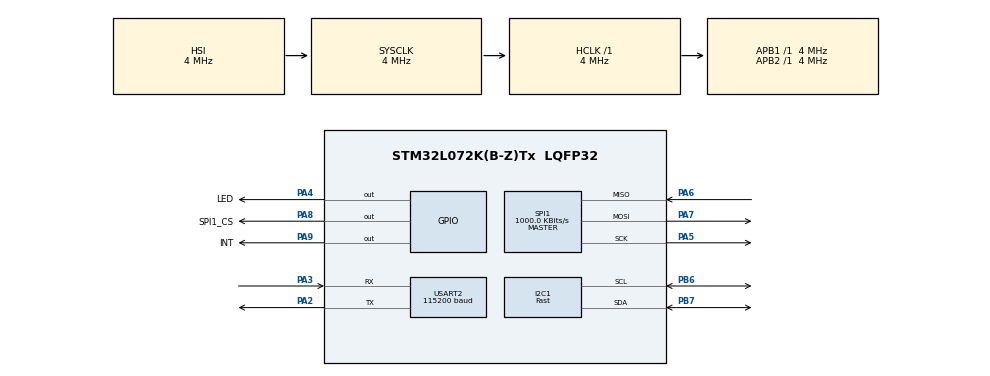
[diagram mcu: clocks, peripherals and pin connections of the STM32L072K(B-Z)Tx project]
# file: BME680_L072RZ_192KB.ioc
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I2C1.I2C_Coeff_DF=6
I2C1.I2C_Fall_Time=100
I2C1.I2C_Rise_Time=100
I2C1.I2C_Speed_Mode=I2C_Fast
I2C1.NoStretchMode=I2C_NOSTRETCH_DISABLE
I2C1.OwnAddress=0x63
I2C1.Speed=140
I2C1.Timing=0x00000207
Mcu.Family=STM32L0
Mcu.Name=STM32L072K(B-Z)Tx
Mcu.Package=LQFP32
NVIC.I2C1_IRQn=true\:0\:0\:false\:false\:true\:true\:true
PA13.Mode=Serial_Wire
PA13.Signal=SYS_SWDIO
PA14.Mode=Serial_Wire
PA14.Signal=SYS_SWCLK
PA2.GPIO_PuPd=GPIO_PULLUP
PA2.Mode=Asynchronous
PA2.Signal=USART2_TX
PA3.GPIO_PuPd=GPIO_PULLUP
PA3.Mode=Asynchronous
PA3.Signal=USART2_RX
PA4.GPIO_Label=LED
PA4.GPIO_ModeDefaultOutputPP=GPIO_MODE_OUTPUT_OD
PA4.GPIO_Speed=GPIO_SPEED_FREQ_MEDIUM
PA4.PinState=GPIO_PIN_SET
PA4.Signal=GPIO_Output
PA5.Mode=Full_Duplex_Master
PA5.Signal=SPI1_SCK
PA6.Mode=Full_Duplex_Master
PA6.Signal=SPI1_MISO
PA7.Mode=Full_Duplex_Master
PA7.Signal=SPI1_MOSI
PA8.GPIO_Label=SPI1_CS
PA8.PinState=GPIO_PIN_SET
PA8.Signal=GPIO_Output
PA9.GPIO_Label=INT
PA9.PinState=GPIO_PIN_SET
PA9.Signal=GPIO_Output
PB6.GPIO_FM6=__NULL
PB6.GPIO_PuPdOD=GPIO_PULLUP
PB6.GPIO_Speed=GPIO_SPEED_FREQ_HIGH
PB6.Mode=I2C
PB6.Signal=I2C1_SCL
PB7.GPIO_FM7=__NULL
PB7.GPIO_PuPdOD=GPIO_PULLUP
PB7.GPIO_Speed=GPIO_SPEED_FREQ_HIGH
PB7.Mode=I2C
PB7.Signal=I2C1_SDA
ProjectManager.HeapSize=0x200
ProjectManager.StackSize=0x400
ProjectManager.TargetToolchain=SW4STM32
RCC.ADCFreq_Value=4000000
RCC.AHBFreq_Value=4000000
RCC.APB1Freq_Value=4000000
RCC.APB1TimFreq_Value=4000000
RCC.APB2Freq_Value=4000000
RCC.APB2TimFreq_Value=4000000
RCC.HCLKFreq_Value=4000000
RCC.HSI16_VALUE=16000000
RCC.HSI48_VALUE=48000000
RCC.HSIRCDiv=4
RCC.HSI_VALUE=4000000
RCC.I2c1ClockSelection=RCC_I2C1CLKSOURCE_HSI
RCC.LSE_VALUE=0.032768
RCC.MSIClockRange=RCC_MSIRANGE_6
RCC.MSI_VALUE=4194000
RCC.PLLDIV=RCC_PLLDIV_3
RCC.PWR_Regulator_Voltage_Scale=PWR_REGULATOR_VOLTAGE_SCALE3
RCC.SYSCLKFreq_VALUE=4000000
RCC.SYSCLKSource=RCC_SYSCLKSOURCE_HSI
RCC.Usart2ClockSelection=RCC_USART2CLKSOURCE_HSI
RCC.VCOOutputFreq_Value=12000000
SPI1.BaudRatePrescaler=SPI_BAUDRATEPRESCALER_4
SPI1.CalculateBaudRate=1000.0 KBits/s
SPI1.Direction=SPI_DIRECTION_2LINES
SPI1.Mode=SPI_MODE_MASTER
SPI1.VirtualType=VM_MASTER
USART2.BaudRate=115200
USART2.VirtualMode-Asynchronous=VM_ASYNC
VP_SYS_V_PVD_IN.Mode=Mode_PVD_Int
board=custom

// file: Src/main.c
/* USER CODE BEGIN Header */
/**
  ******************************************************************************
  * @file           : main.c
  * @brief          : Main program body
  ******************************************************************************
  * @attention
  *
  * <h2><center>&copy; Copyright (c) 2021 STMicroelectronics.
  * All rights reserved.</center></h2>
  *
  * This software component is licensed by ST under BSD 3-Clause license,
  * the "License"; You may not use this file except in compliance with the
  * License. You may obtain a copy of the License at:
  *                        opensource.org/licenses/BSD-3-Clause
  *
  ******************************************************************************
  */
/* USER CODE END Header */

#include "main.h"
#include "i2c.h"
#include "spi.h"
#include "usart.h"
#include "gpio.h"

/* USER CODE BEGIN Includes */

#include "stdio.h"
#include "stdlib.h"
#include "global.h"
#include "bsec_integration.h"
#include "bsec_datatypes.h"
#include "bsec_serialized_configurations_iaq.h"
#include "debugPrint.h"
// include sensor
#ifdef SENSOR_TYPE
    #if (SENSOR_TYPE == BUTTONS)
        #include "Sensors/buttons.h"
    #elif (SENSOR_TYPE == SOUND_LEVEL)
        #include "Sensors/sound_level.h"
    #elif (SENSOR_TYPE == BME680)
        #include "bme680_air_quality.h"
    #else
        #warning "Make sure your build settings in global.h are correct."
        #error "Unsupported sensor type."
    #endif
#else
    #warning "Make sure your build settings in global.h are correct."
    #error "Sensor type is undefined."
#endif

/* USER CODE END Includes */

/* USER CODE BEGIN PV */

Device_API_t sensorAPI = SENSOR_API;

#ifndef TYPE_BYTE
    #error "TYPE_BYTE is not defined"
#elif (~(~TYPE_BYTE + 0) == 0 && ~(~TYPE_BYTE + 1) == 1)
    #error "TYPE_BYTE is defined, but has no value"
#endif

#ifndef M_NR
    #error "M_NR is not defined"
#elif (~(~M_NR + 0) == 0 && ~(~M_NR + 1) == 1)
    #error "M_NR is defined, but has no value"
#endif

#ifndef SLAVE_ADDRESS
    #error "SLAVE_ADDRESS is not defined"
#elif (~(~SLAVE_ADDRESS + 0) == 0 && ~(~SLAVE_ADDRESS + 1) == 1)
    #error "SLAVE_ADDRESS is defined, but has no value"
#endif

uint8_t mData[2 * M_NR];
uint8_t mDataLength;
uint8_t Ready;
uint8_t MasterReset = 0;

uint8_t measurementData[D_LEN] = {0x00, 0x00, 0x00, 0x00, 0x00, 0x00, 0x00, 0x00};
uint8_t measurementDataForI2C[D_LEN] = {0x00, 0x00, 0x00, 0x00, 0x00, 0x00, 0x00, 0x00};
uint16_t temp16 = 0x0000;
uint16_t pres16 = 0x0000;
uint16_t humi16 = 0x0000;
uint16_t iaq16  = 0x0000;
uint8_t iaqacc = 0x00;
uint8_t intGenerated = 0;
uint8_t generateIntReq = 0; // if CMD_START_MEASUREMENT: generateIntReq = 1. The interrupt will be given AFTER a measurement (ULP or ULP PLUS) has been done.
uint8_t firstCmdStartMeasurement = 0; // to know when master requests for a measurement the first time
uint8_t mMeasurementReq = 0;
uint8_t mDataReq = 0;
uint8_t mDataSend = 0;
uint8_t mSetThresholds = 0;
uint8_t SetThresholds = 0;
uint8_t startBME680 = 0;
uint8_t DelayULPPStart = 0;

int64_t currentTime;
int64_t previousTime1;
int64_t previousTime2;

uint32_t n_samples = 0;
int32_t save_intvl = 100;

int64_t timeOfCmdStartMeasurement;
int64_t realTimeOfCmdStartMeasurement;
int64_t timeOfCmdIntToggleByMaster;
int64_t timeOfSetThresholds;

int64_t timeOfMeasurementDataPrint;
int64_t timeEllapsedSinceLastMeasurement;
int64_t timeULPStart;
int64_t timeDelayULPPStart;
int64_t timeDiffULPStart;
int64_t timeOfMasterIntToggle;
int64_t timeOfMDataReq;

int64_t PrevioustimeOfCmdStartMeasurement;
//int64_t timeOfIntReq;
int64_t timeOfIntExecution;
uint8_t alignIntReqWithBsec = 0;
uint8_t intExecute = 0;

int64_t timeOfCmdGetMData;
int64_t timeOfCmdPoll;
int64_t cycleEndTime;
int64_t cycletimeBSEC;
int64_t startTimeOfSaveBsecStatus;
int64_t endTimeOfSaveBsecStatus;
int64_t slaveCycleTime = 300000;

int64_t bsecCycle = 3000000; // this is the cycle of bsec, not bme680! Expressed in microseconds, set to 3s.
int64_t firstCycle = 60000000; // this is when the first cycle of bsec needs to start AFTER POLL command from master, set to 1s.

// DATA EEPROM Flash address
uint32_t Address = 0;
uint8_t saveBsec = 0;
uint8_t saveBsecState = 0;
uint8_t syncSaveBsecState = 0;
uint16_t saveBsecStateAanpassing = 0;

uint8_t processLed = 10;
uint8_t startFirstMeasurement = 0;
uint8_t cmdStartMeasurement = 0;
uint8_t cmdPoll = 0;
uint8_t cmdDeviceType = 0;
uint8_t cmdGetMNr = 0;
uint8_t cmdIntToggleByMaster = 0;
uint8_t cmdGetMData = 0;
uint MasterCycleCounter = 0;

uint8_t intExecuteInNextWakeUp = 0;
int64_t timeOfIntExecutionInNextWakeUp = 0;
uint8_t generateIntReqInNextWakeUp = 0;
uint8_t alignIntReqWithBsecInNextWakeUp = 0;

/**
  * @brief Variables related to Slave process
  */
const char* aSlaveInfo[]      = {
                  "STM32L152RE",
                  "1.2.3"};

uint8_t       aSlaveReceiveBuffer[0xF]  = {0};
uint8_t*      pSlaveTransmitBuffer      = 0;
__IO uint8_t  ubSlaveNbDataToTransmit   = 0;
uint8_t       ubSlaveInfoIndex          = 0xFF;
__IO uint8_t  ubSlaveReceiveIndex       = 0;
uint32_t      uwTransferDirection       = 0;
__IO uint32_t uwTransferInitiated       = 0;
__IO uint32_t uwTransferEnded           = 0;
uint8_t       mySlaveTransmitBuffer     = 0xAA;
uint8_t       slaveTransferOngoing      = 0;

/* USER CODE END PV */

void SystemClock_Config(void);

int main(void)
{
  /* USER CODE BEGIN 1 */
	//	char uart_buf[50];
	//	int uart_buf_len;
  /* USER CODE END 1 */

  /* MCU Configuration--------------------------------------------------------*/

  /* Reset of all peripherals, Initializes the Flash interface and the Systick. */
  HAL_Init();

  /* Configure the system clock */
  SystemClock_Config();

  /* Initialize all configured peripherals */
  MX_GPIO_Init();
  MX_I2C1_Init();
  MX_SPI1_Init();
  MX_USART2_UART_Init();
  /* USER CODE BEGIN 2 */

  //HAL_Delay(100);
  //setup_bsec_bme680_interface();
  //HAL_Delay(100);

  //  int64_t previousTime1;
  //  previousTime1 = get_timestamp_us();

   // previousTime2 = get_timestamp_us();
  //  int64_t currentTime;

    /* Start of bsec_iot_loop function before while (1) replacement */
    /* Timestamp variables */
    uint64_t time_stamp = 0;
    uint64_t time_stamp_interval_ms = 0;

    /* Allocate enough memory for up to BSEC_MAX_PHYSICAL_SENSOR physical inputs*/
    bsec_input_t bsec_inputs[BSEC_MAX_PHYSICAL_SENSOR];

    /* Number of inputs to BSEC */
    uint8_t num_bsec_inputs = 0;

    /* BSEC sensor settings struct */
    bsec_bme_settings_t sensor_settings;

    /* Save state variables */
    uint8_t bsec_state[BSEC_MAX_STATE_BLOB_SIZE];
    uint8_t work_buffer[BSEC_MAX_STATE_BLOB_SIZE];
    uint32_t bsec_state_len = 0;

    extern bsec_data bsec_value;

    bsec_value.timestamp = 0;
    bsec_value.iaq = 0.0f;
    bsec_value.iaq_accuracy = 0;
    bsec_value.temp = 0.0f;
    bsec_value.raw_temp = 0.0f;
    bsec_value.raw_pressure = 0.0f;
    bsec_value.humidity = 0.0f;
    bsec_value.raw_humidity = 0.0f;
    bsec_value.raw_gas = 0.0f;
    bsec_value.static_iaq = 0.0f;
    bsec_value.static_iaq_accuracy = 0;
    bsec_value.co2_equivalent = 0.0f;
    uint8_t co2_accuracy = 0;
    bsec_value.breath_voc_equivalent = 0.0f;
    uint8_t breath_voc_accuracy = 0;
    bsec_value.comp_gas_value = 0.0f;
    uint8_t comp_gas_accuracy = 0;
    bsec_value.gas_percentage = 0.0f;
    bsec_value.gas_percentage_acccuracy = 0;

    bsec_library_return_t bsec_status = BSEC_OK;
    /* End of bsec_iot_loop function before while (1) replacement */

    char uart_buf[200];
    int uart_buf_len;

    // I2C buffer for commands reception

    // Interrupt line to master HIGH
    HAL_GPIO_WritePin(INT_GPIO_Port, INT_Pin, GPIO_PIN_SET);
    Ready = 0; // INT_Pin high

    uint64_t time_next_measurement = 0;

  /* USER CODE END 2 */

  /* Infinite loop */
  /* USER CODE BEGIN WHILE */
  while (1)
  {
	/*##-2- Put I2C peripheral in Listen address match code process ##########*/
	/* This action will allow I2C periphal to able to treat Master request when
	 * necessary depending of transfer direction requested by Master */
	if ((currentTime - previousTime2) >= TICK) // do this every ms
	{
		if(HAL_I2C_EnableListen_IT(&hi2c1) != HAL_OK)
		{
		  /* Transfer error in reception process */
		  //Error_Handler();
		  //uart_buf_len = sprintf(uart_buf, "HAL_I2C_EnableListen_IT(&hi2c1) error (in while loop).\r\n");
		  //HAL_UART_Transmit(&huart2, (uint8_t *)uart_buf, uart_buf_len, 100);
		}
		previousTime2 = currentTime;
	}

//	if ((currentTime - previousTime1) >= TICK) // do this every ms
//	{
//    ...
//	  previousTime1 = currentTime;
//	}
    currentTime = get_timestamp_us();

//	if (MasterReset) // reset at master occurred
//	{
//	  if (generateIntReq && (currentTime >= timeOfIntReq))
	  if (generateIntReq && (currentTime >=  (timeOfCmdStartMeasurement + 2500000)))
	  {
		generateIntReq = 0;
		alignIntReqWithBsec = 1;
	  }

	  if(generateIntReqInNextWakeUp && (currentTime >= (timeOfCmdStartMeasurement + 17000000)))
	  {
		generateIntReqInNextWakeUp = 0;
		alignIntReqWithBsecInNextWakeUp = 1;
	  }

	  if (intExecuteInNextWakeUp && (currentTime >= timeOfIntExecutionInNextWakeUp) && MasterCycleCounter > 1)
	  {
		intExecuteInNextWakeUp = 0;
	    if ((get_timestamp_us() - timeOfCmdStartMeasurement) < 21000000)
	    {
		  sensorAPI.Measure();
	    }
	    else
	    {
		  uart_buf_len = sprintf(uart_buf, "Also no INT generated in the second wake-up event to avoid possible RESET. Time elapsed since last measurement request = %dms. MasterCycleCounter = %d.\r\n",(int)((get_timestamp_us() - timeOfCmdStartMeasurement)/1000),(int)MasterCycleCounter);
		  HAL_UART_Transmit(&huart2, (uint8_t *)uart_buf, uart_buf_len, 100);
	    }
	  }

	  if (intExecute && (currentTime >= timeOfIntExecution) && MasterCycleCounter > 1)
      {
	    intExecute = 0;
	    // if time elapsed is > 8s since measurement request, then there is a risk that the radio will work during the next wake-up
	    // resulting in a watchdog reset of the master with a reset as a consequence.
	    // To avoid a possible reset, it is better NOT to give the INT if this occurs.
	    // It is also important to take this into account if a threshold is exceeded. See bme680_air_quality.c, where the INT request can also be set.
	    if ((get_timestamp_us() - timeOfCmdStartMeasurement) < 5500000)
	    {
		  sensorAPI.Measure();
	    }
	    else
	    {
		  uart_buf_len = sprintf(uart_buf, "No INT generated in this wake-up event to avoid possible RESET. Time elapsed since last measurement request = %dms. MasterCycleCounter = %d.\r\n",(int)((get_timestamp_us() - timeOfCmdStartMeasurement)/1000),(int)MasterCycleCounter);
		  HAL_UART_Transmit(&huart2, (uint8_t *)uart_buf, uart_buf_len, 100);
		  generateIntReqInNextWakeUp = 1;
		  //intExecuteInNextWakeUp = 1;
		  //timeOfIntExecuteInNextWakeUp = timeOfCmdStartMeasurement + 17000000;
		}
	  }

	  if ((((currentTime - previousTime1) >= bsecCycle) && (firstCmdStartMeasurement == 2))  || (firstCmdStartMeasurement == 1)) // do this every 3s
//	  if ((currentTime - previousTime1) >= bsecCycle) // do this every 3s
	  {
		if (firstCmdStartMeasurement == 1)
		{
		  firstCmdStartMeasurement = 2;
		  generateIntReq = 1;
		  //timeOfIntReq = get_timestamp_us();
		}
		if ((MasterCycleCounter++ >= 100) || (MasterCycleCounter == 1))
		{
		  uart_buf_len = sprintf(uart_buf, "Start measurement in ULP mode. Current time = %ds. Time elapsed since last ULP measurement = %dms. MasterCycleCounter = %d.\r\n",(int)(currentTime/1000000),(int)((currentTime-timeULPStart)/1000),(int)MasterCycleCounter);
	      HAL_UART_Transmit(&huart2, (uint8_t *)uart_buf, uart_buf_len, 100);
	      timeULPStart = get_timestamp_us();
	      MasterCycleCounter = 1;
		}
		/* get the timestamp in nanoseconds before calling bsec_sensor_control() */
		time_stamp = currentTime * 1000;
	    /* Retrieve sensor settings to be used in this time instant by calling bsec_sensor_control */
		bsec_status = bsec_sensor_control(time_stamp, &sensor_settings);
	    if (bsec_status != BSEC_OK)
	    {
	      uart_buf_len = sprintf(uart_buf, "bsec_sensor_control issue, bsec_status = %d. Time since last bsec control request = %dms\r\n",(int)bsec_status,(int)((currentTime - previousTime1)/1000));
	      HAL_UART_Transmit(&huart2, (uint8_t *)uart_buf, uart_buf_len, 100);
	    }
	    /* Trigger a measurement if necessary */
	    bme680_bsec_trigger_measurement(&sensor_settings, sleep);
	    /* Read data from last measurement */
	    num_bsec_inputs = 0;
	    bme680_bsec_read_data(time_stamp, bsec_inputs, &num_bsec_inputs, sensor_settings.process_data);
	    /* Time to invoke BSEC to perform the actual processing */
	    bme680_bsec_process_data(bsec_inputs, num_bsec_inputs, output_ready);
	    /* Retrieve and store state if save_intvl passed */
	    if (n_samples >= save_intvl)
	    {
	      bsec_status = bsec_get_state(0, bsec_state, sizeof(bsec_state), work_buffer, sizeof(work_buffer), &bsec_state_len);
	      if (bsec_status == BSEC_OK)
	      {
	        state_save(bsec_state, bsec_state_len);
	      }
	      n_samples = 0;
	    }
	    previousTime1 = currentTime;
		HAL_Delay(50);
		HAL_GPIO_WritePin(INT_GPIO_Port, LED_Pin, GPIO_PIN_RESET);
		HAL_Delay(50);
		HAL_GPIO_WritePin(INT_GPIO_Port, LED_Pin, GPIO_PIN_SET);
	    cycletimeBSEC = (get_timestamp_us()-currentTime)/1000;
	    if (cycletimeBSEC > 110)
	    {
	      uart_buf_len = sprintf(uart_buf, "Duration BSEC cycle =  %dms, MasterCycleCounter = %d\r\n",(int)cycletimeBSEC,(int)MasterCycleCounter);
	      HAL_UART_Transmit(&huart2, (uint8_t *)uart_buf, uart_buf_len, 100);
	    }
//	    if (generateIntReq)
//	    {
//	      timeOfIntReq = get_timestamp_us() + 1000000; // +1s, to generate the INT between 2 bsec cycles
//	    }

	    if (alignIntReqWithBsec)
	    {
	      alignIntReqWithBsec = 0;
	      timeOfIntExecution = currentTime + 500000; // +0.5s, to generate the INT between 2 bsec cycles
	      intExecute = 1;
	    }
	    if(alignIntReqWithBsecInNextWakeUp)
	    {
	      alignIntReqWithBsecInNextWakeUp = 0;
	      timeOfIntExecutionInNextWakeUp = currentTime + 500000; // +0.5s, to generate the INT between 2 bsec cycles
	      intExecuteInNextWakeUp = 1;
	    }
	  }
	  if (cmdStartMeasurement)
	  {
		cmdStartMeasurement = 0;
		timeOfCmdStartMeasurement = get_timestamp_us();
	    //uart_buf_len = sprintf(uart_buf, "Master requests forced measurement. Time = %dms\r\n",(int)(get_timestamp_us()/1000));
	    //HAL_UART_Transmit(&huart2, (uint8_t *)uart_buf, uart_buf_len, 100);
		mMeasurementReq = 1;
		if (firstCmdStartMeasurement == 0)
		{
		  mMeasurementReq = 0;
		  firstCmdStartMeasurement = 1;
		  HAL_Delay(100);
		  setup_bsec_bme680_interface();
		  HAL_Delay(100);
		}
		else
		{
		  timeEllapsedSinceLastMeasurement = (timeOfCmdStartMeasurement-timeULPStart)/1000; // in ms
		  if ((timeEllapsedSinceLastMeasurement > 290000) && (timeEllapsedSinceLastMeasurement < 301000)) // >290s & <301s, too close to next ULP start, wait until next ULP cycle is done.
		  {
			uart_buf_len = sprintf(uart_buf, "Master request for ULP_PLUS cycle delayed until new ULP cycle results are available, time elapsed since last ULP cycle = %dms\r\n",(int)timeEllapsedSinceLastMeasurement);
			HAL_UART_Transmit(&huart2, (uint8_t *)uart_buf, uart_buf_len, 100);
			DelayULPPStart = 1;
			mMeasurementReq = 0;
		  }
// following is removed because in the situations seen that this happens the ULP cycle is already done and an INT is not given anymore for this request
// there are other delays implemented to avoid that the INT is being given while a ULP cycle is ongoing.
//		  else if (timeEllapsedSinceLastMeasurement < 5000) // <5s, a ULP cycle could be happening right now... delay until this cycle is done.
//		  {
//			uart_buf_len = sprintf(uart_buf, "Master request for ULP_PLUS cycle delayed to avoid conflict with running ULP cycle,  time elapsed since last ULP cycle = %dms\r\n",(int)timeEllapsedSinceLastMeasurement);
//			HAL_UART_Transmit(&huart2, (uint8_t *)uart_buf, uart_buf_len, 100);
//			DelayULPPStart = 1;
//			mMeasurementReq = 0;
//		  }
		}
      }
	  if (mMeasurementReq && (currentTime >= timeOfCmdStartMeasurement) && (firstCmdStartMeasurement != 1))
	  {
		/* start ULP_PLUS CYCLE */
		bsec_library_return_t status = BSEC_OK;
		mMeasurementReq = 0;
		generateIntReq = 1;
		//timeOfIntReq = get_timestamp_us() + 4000000; // +4s
		timeDiffULPStart = get_timestamp_us() - timeULPStart;
		if (((timeDiffULPStart < 237000000) && (timeDiffULPStart > 58000000)) || (timeDiffULPStart > 300000000))  // do not request ULP_PLUS cycle if we know upfront if this will fail (a rejected request is causing delay and creates other issues).
		{
		  /* bsec_update_subscription() will be called in order to instruct BSEC to perform an extra measurement at the next possible time slot */
		  status = bme680_bsec_update_subscription(BSEC_SAMPLE_RATE_ULP_MEASUREMENT_ON_DEMAND);
		  /* The status code would tell us if the request was accepted. It will be rejected if the sensor is not already in
		   * ULP mode, or if the time difference between requests is too short. */
		  if (status != BSEC_OK)
		  {
		  	uart_buf_len = sprintf(uart_buf, "Master request for ULP_PLUS cycle rejected by BSEC, error code = %d. Last measurement data will be used. Time elapsed since last ULP measurement = %dms\r\n",(int)status,(int)(timeDiffULPStart/1000));
		    HAL_UART_Transmit(&huart2, (uint8_t *)uart_buf, uart_buf_len, 100);
		  	//timeOfIntReq += 5000000; // +4s
		  }
		  else
		  {
		  	uart_buf_len = sprintf(uart_buf, "Master request for ULP_PLUS cycle accepted by BSEC. Time elapsed since last ULP measurement = %dms\r\n",(int)(timeDiffULPStart/1000));
		  	HAL_UART_Transmit(&huart2, (uint8_t *)uart_buf, uart_buf_len, 100);
		  	//timeOfIntReq += 3000000; // +10s (to make sure we wait after a BSEC cycle. After the BSEC cycle, timeofIntReq will be aligned with the end of the BSEC cycle + 1s)
		  }
		}
		else
		{
		  uart_buf_len = sprintf(uart_buf, "Master request for ULP_PLUS cycle not requested to BSEC. Last measurement data will be used. Time elapsed since last ULP measurement = %dms\r\n",(int)(timeDiffULPStart/1000));
		  HAL_UART_Transmit(&huart2, (uint8_t *)uart_buf, uart_buf_len, 100);
		  //timeOfIntReq += 3000000; // +4s
		}
      }
	  /* Compute how long we can sleep until we need to call bsec_sensor_control() next */
	  /* Time_stamp is converted from microseconds to nanoseconds first and then the difference to milliseconds */
	  //time_stamp_interval_ms = (sensor_settings.next_call - get_timestamp_us() * 1000) / 1000000;
	  //uart_buf_len = sprintf(uart_buf, "Time available to sleep before next bsec_sensor_control() = %d.\r\n",(int)time_stamp_interval_ms);
	  //HAL_UART_Transmit(&huart2, (uint8_t *)uart_buf, uart_buf_len, 100);
	  //if (time_stamp_interval_ms > 0)
	  //{
	  //  sleep((uint32_t)time_stamp_interval_ms);
	  //}
//	}

//    if (mSetThresholds == 1)
//    {
//      sensorAPI.UpdateThreshold(aSlaveReceiveBuffer[1], aSlaveReceiveBuffer+1);
//    }
//
//	if (cmdGetMData == 1)
//	{
//    mDataReq = 1;
//	    pSlaveTransmitBuffer = (uint8_t *)(measurementData); //transmit of data wordt gesynchroniseerd met de meetcyclus
//	    ubSlaveNbDataToTransmit = 8;
//	}
//
//	if (cmdGetMNr == 1)
//	{
//	    mySlaveTransmitBuffer = M_NR;
//	    pSlaveTransmitBuffer = &mySlaveTransmitBuffer;
//		    ubSlaveNbDataToTransmit = 1;
//
//	}
//
//  	if (cmdDeviceType == 1)
//  	{
//  	  mySlaveTransmitBuffer = TYPE_BYTE;
//	    pSlaveTransmitBuffer = &mySlaveTransmitBuffer;
//	    ubSlaveNbDataToTransmit = 1;
//  	}
//
//	  if (cmdPoll == 1)
//	  {
//			//uart_buf_len = sprintf(uart_buf, "Master polls address. Time = %dms\r\n",(int)(get_timestamp_us()/1000));
//		    //HAL_UART_Transmit(&huart2, (uint8_t *)uart_buf, uart_buf_len, 100);
//			mySlaveTransmitBuffer = DEFAULT_ACK;
//		    pSlaveTransmitBuffer = &mySlaveTransmitBuffer;
//		    ubSlaveNbDataToTransmit = 1;
//
//	  }

    /* USER CODE END WHILE */

  }
}

void SystemClock_Config(void)
{
  RCC_OscInitTypeDef RCC_OscInitStruct = {0};
  RCC_ClkInitTypeDef RCC_ClkInitStruct = {0};
  RCC_PeriphCLKInitTypeDef PeriphClkInit = {0};

  /** Configure the main internal regulator output voltage
  */
  __HAL_PWR_VOLTAGESCALING_CONFIG(PWR_REGULATOR_VOLTAGE_SCALE3);
  /** Initializes the CPU, AHB and APB busses clocks
  */
  RCC_OscInitStruct.OscillatorType = RCC_OSCILLATORTYPE_HSI;
  RCC_OscInitStruct.HSIState = RCC_HSI_DIV4;
  RCC_OscInitStruct.HSICalibrationValue = RCC_HSICALIBRATION_DEFAULT;
  RCC_OscInitStruct.PLL.PLLState = RCC_PLL_NONE;
  if (HAL_RCC_OscConfig(&RCC_OscInitStruct) != HAL_OK)
  {
    Error_Handler();
  }
  /** Initializes the CPU, AHB and APB busses clocks
  */
  RCC_ClkInitStruct.ClockType = RCC_CLOCKTYPE_HCLK|RCC_CLOCKTYPE_SYSCLK
                              |RCC_CLOCKTYPE_PCLK1|RCC_CLOCKTYPE_PCLK2;
  RCC_ClkInitStruct.SYSCLKSource = RCC_SYSCLKSOURCE_HSI;
  RCC_ClkInitStruct.AHBCLKDivider = RCC_SYSCLK_DIV1;
  RCC_ClkInitStruct.APB1CLKDivider = RCC_HCLK_DIV1;
  RCC_ClkInitStruct.APB2CLKDivider = RCC_HCLK_DIV1;

  if (HAL_RCC_ClockConfig(&RCC_ClkInitStruct, FLASH_LATENCY_0) != HAL_OK)
  {
    Error_Handler();
  }
  PeriphClkInit.PeriphClockSelection = RCC_PERIPHCLK_USART2|RCC_PERIPHCLK_I2C1;
  PeriphClkInit.Usart2ClockSelection = RCC_USART2CLKSOURCE_HSI;
  PeriphClkInit.I2c1ClockSelection = RCC_I2C1CLKSOURCE_HSI;
  if (HAL_RCCEx_PeriphCLKConfig(&PeriphClkInit) != HAL_OK)
  {
    Error_Handler();
  }
}

/* USER CODE BEGIN 4 */

/**********************************************************************************************************************/
/* functions */
/**********************************************************************************************************************/

/**
  * @brief  Slave Address Match callback.
  * @param  hi2c Pointer to a I2C_HandleTypeDef structure that contains
  *                the configuration information for the specified I2C.
  * @param  TransferDirection: Master request Transfer Direction (Write/Read), value of @ref I2C_XferOptions_definition
  * @param  AddrMatchCode: Address Match Code
  * @retval None
  */
void HAL_I2C_AddrCallback(I2C_HandleTypeDef *hi2c, uint8_t TransferDirection, uint16_t AddrMatchCode)
{
  char uart_buf[200];
  int uart_buf_len;
  //uart_buf_len = sprintf(uart_buf, "Master request. AddrMatchCode = 0x%02X\r\n",AddrMatchCode >> 1);
  //HAL_UART_Transmit(&huart2, (uint8_t *)uart_buf, uart_buf_len, 100);
  if(AddrMatchCode >> 1 == I2C_ADDRESS)
  {
    uwTransferDirection = TransferDirection;
    /* First of all, check the transfer direction to call the correct Slave Interface */
    if(uwTransferDirection == I2C_DIRECTION_TRANSMIT) // Slave receives data from Master
    {
      if(HAL_I2C_Slave_Seq_Receive_IT(&hi2c1, &aSlaveReceiveBuffer[ubSlaveReceiveIndex], 1, I2C_FIRST_FRAME) != HAL_OK)
      {
        uart_buf_len = sprintf(uart_buf, "Error HAL_I2C_Slave_Sequential_Receive_IT.\r\n");
        HAL_UART_Transmit(&huart2, (uint8_t *)uart_buf, uart_buf_len, 100);
        Error_Handler();
      }
      ubSlaveReceiveIndex++;
    }
    else // Slave to send data to Master
    {
      if(HAL_I2C_Slave_Seq_Transmit_IT(&hi2c1, pSlaveTransmitBuffer, ubSlaveNbDataToTransmit, I2C_LAST_FRAME) != HAL_OK)
      {
        uart_buf_len = sprintf(uart_buf, "Error HAL_I2C_Slave_Sequential_Transmit_IT.\r\n");
        HAL_UART_Transmit(&huart2, (uint8_t *)uart_buf, uart_buf_len, 100);
        Error_Handler();
      }
      else
      {
        //uart_buf_len = sprintf(uart_buf, "Data sent from Slave.\r\n");
        //HAL_UART_Transmit(&huart2, (uint8_t *)uart_buf, uart_buf_len, 100);
        ubSlaveReceiveIndex = 0;
      }
    }
  }
  else
  {
    /* Call Error Handler, Wrong Address Match Code */
    uart_buf_len = sprintf(uart_buf, "Wrong Address Match Code: 0x%02X\r\n",(AddrMatchCode >> 1));
    HAL_UART_Transmit(&huart2, (uint8_t *)uart_buf, uart_buf_len, 100);

    Error_Handler();
  }
}

/**
  * @brief  Rx Transfer completed callback.
  * @param  I2cHandle: I2C handle
  * @note   This example shows a simple way to report end of IT Rx transfer, and
  *         you can add your own implementation.
  * @retval None
  */
void HAL_I2C_SlaveRxCpltCallback(I2C_HandleTypeDef *I2cHandle)
{
  char uart_buf[200];
  int uart_buf_len;
  //uart_buf_len = sprintf(uart_buf, "HAL_I2C_SlaveRxCpltCallback. Received byte: 0x%02X\r\n",aSlaveReceiveBuffer[ubSlaveReceiveIndex-1]);
  //HAL_UART_Transmit(&huart2, (uint8_t *)uart_buf, uart_buf_len, 100);
  /* Check Command code receive previously */
  /* If data received match with a Internal Command Code, set the associated index */
  /* Which will use for Tranmission process if requested by Master */
  if (uwTransferDirection == I2C_DIRECTION_TRANSMIT) // Slave receives data from Master
  {
    //uart_buf_len = sprintf(uart_buf, "Received command: 0x%02X\r\n",aSlaveReceiveBuffer[ubSlaveReceiveIndex-1]);
    //HAL_UART_Transmit(&huart2, (uint8_t *)uart_buf, uart_buf_len, 100);
    switch (aSlaveReceiveBuffer[0])
    {
      // POLL
	  case CMD_POLL: // master polls address -> respond with ack
	  {
	    // Master reset cycle begins. Set following variables to 0:
		MasterReset = 0;
		firstCmdStartMeasurement = 0;
		MasterCycleCounter = 0;
		generateIntReq = 0;
		mMeasurementReq = 0;

		cmdPoll = 1;
		//uart_buf_len = sprintf(uart_buf, "Master polls address. Time = %dms\r\n",(int)(get_timestamp_us()/1000));
	    //HAL_UART_Transmit(&huart2, (uint8_t *)uart_buf, uart_buf_len, 100);
 		mySlaveTransmitBuffer = DEFAULT_ACK;
	    pSlaveTransmitBuffer = &mySlaveTransmitBuffer;
	    ubSlaveNbDataToTransmit = 1;
      } break;
      // TYPE
      case CMD_DEVICE_TYPE: // master requests sensor type -> respond with type
      {
  		//uart_buf_len = sprintf(uart_buf, "Master requests sensor type. Time = %dms\r\n",(int)(get_timestamp_us()/1000));
  	    //HAL_UART_Transmit(&huart2, (uint8_t *)uart_buf, uart_buf_len, 100);
    	cmdDeviceType = 1;
    	mySlaveTransmitBuffer = TYPE_BYTE;
	    pSlaveTransmitBuffer = &mySlaveTransmitBuffer;
  	    ubSlaveNbDataToTransmit = 1;
      } break;
      // NR OF METRICS
      case CMD_GET_M_NR: // master requests measurement data length -> respond with length
      {
    	//uart_buf_len = sprintf(uart_buf, "Master requests measurement data length. Time = %dms\r\n",(int)(get_timestamp_us()/1000));
  	    //HAL_UART_Transmit(&huart2, (uint8_t *)uart_buf, uart_buf_len, 100);
    	cmdGetMNr = 1;
        mySlaveTransmitBuffer = M_NR;
	    pSlaveTransmitBuffer = &mySlaveTransmitBuffer;
   	    ubSlaveNbDataToTransmit = 1;
      } break;
      // MEASURE
      case CMD_START_MEASUREMENT: // master forces measurement -> respond with ack
      {
      	/* Master requests measurement */
    	cmdStartMeasurement = 1;
//    	startFirstMeasurement = 1;

//        uart_buf_len = sprintf(uart_buf, "Master requests forced measurement. Time = %dms\r\n",(int)(get_timestamp_us()/1000));
//    	HAL_UART_Transmit(&huart2, (uint8_t *)uart_buf, uart_buf_len, 100);
//    	firstCmdStartMeasurement = 1;
//    	mMeasurementReq = 1;
//    	timeOfCmdStartMeasurement = get_timestamp_us();
//        timeEllapsedSinceLastMeasurement = (timeOfCmdStartMeasurement-timeULPStart)/1000; // in ms
//  	    if (timeEllapsedSinceLastMeasurement > 290000) // 290s, too close to next ULP start, wait until next ULP cycle is done.
//  	    {
//  	      //timeDelayULPPStart = 304000 - timeEllapsedSinceLastMeasurement;
//      	  //timeOfCmdStartMeasurement = get_timestamp_us() +
//          uart_buf_len = sprintf(uart_buf, "Interrupt to master delayed until new ULP measurement results are available, time elapsed since last ULP cycle = %dms\r\n",(int)timeEllapsedSinceLastMeasurement);
//      	  HAL_UART_Transmit(&huart2, (uint8_t *)uart_buf, uart_buf_len, 100);
//      	  DelayULPPStart = 1;
//      	  mMeasurementReq = 0;
//  	    }
//  	    else if (timeEllapsedSinceLastMeasurement < 3000) // 3s, a ULP cycle could be happening right now... delay until this cycle is done.
//  	    {
//          uart_buf_len = sprintf(uart_buf, "Interrupt to master delayed to avoid conflict with running ULP measurement,  time elapsed since last ULP cycle = %dms\r\n",(int)timeEllapsedSinceLastMeasurement);
//          HAL_UART_Transmit(&huart2, (uint8_t *)uart_buf, uart_buf_len, 100);
//          //timeOfCmdStartMeasurement += 5000000; // + 5s
//      	  DelayULPPStart = 1;
//      	  mMeasurementReq = 0;
//  	    }
//        //sensorAPI.Measure(); // start of measurement wordt gesynchroniseerd met de meetcyclus
      } break;
      // GET DATA
      case CMD_GET_M_DATA: // master requests measurement data -> send data
      {
    	cmdGetMData = 1;
        mDataReq = 1;
  	    pSlaveTransmitBuffer = (uint8_t *)(measurementData); //transmit of data wordt gesynchroniseerd met de meetcyclus
   	    ubSlaveNbDataToTransmit = 8;

        //uart_buf_len = sprintf(uart_buf, "Master requests measurement data. Time = %dms\r\n",(int)(get_timestamp_us()/1000));
        //HAL_UART_Transmit(&huart2, (uint8_t *)uart_buf, uart_buf_len, 100);
      } break;
      // INT TOGGLE
      case CMD_INT_TOGGLE: //toggle the INT line
      {
        //uart_buf_len = sprintf(uart_buf, "Master toggles INT line. Time = %dms\r\n",(int)(get_timestamp_us()/1000));
        //HAL_UART_Transmit(&huart2, (uint8_t *)uart_buf, uart_buf_len, 100);
//    	timeOfCmdIntToggleByMaster = get_timestamp_us();
    	cmdIntToggleByMaster = 1;
//    	startFirstMeasurement = 1;

        if (Ready == 0)
        {
          HAL_GPIO_WritePin(INT_GPIO_Port, INT_Pin, GPIO_PIN_RESET);
          Ready = 1;
        }
        else
        {
          HAL_GPIO_WritePin(INT_GPIO_Port, INT_Pin, GPIO_PIN_SET);
          Ready = 0;

        }
      } break;
      // SET_THRESHOLDS
      case CMD_SET_THRESHOLDS: //read thresholds
      {
        if(HAL_I2C_Slave_Seq_Receive_IT(I2cHandle, &aSlaveReceiveBuffer[ubSlaveReceiveIndex], 1, I2C_NEXT_FRAME) != HAL_OK)
	    {
	      uart_buf_len = sprintf(uart_buf, "Read thresholds Error receiving bytes.\r\n");
	      HAL_UART_Transmit(&huart2, (uint8_t *)uart_buf, uart_buf_len, 100);
	      Error_Handler();
		}
	    if(ubSlaveReceiveIndex == 6)
	    {
	      mSetThresholds = 1;
	      sensorAPI.UpdateThreshold(aSlaveReceiveBuffer[1], aSlaveReceiveBuffer+1);
	    }
	    ubSlaveReceiveIndex++;
      } break;
      // else receive more bytes from Master
	  default:
	  {
        if(HAL_I2C_Slave_Seq_Receive_IT(I2cHandle, &aSlaveReceiveBuffer[ubSlaveReceiveIndex], 1, I2C_NEXT_FRAME) != HAL_OK)
	    {
  	      uart_buf_len = sprintf(uart_buf, "Unknown command. Error receiving bytes.\r\n");
  	      HAL_UART_Transmit(&huart2, (uint8_t *)uart_buf, uart_buf_len, 100);
	      Error_Handler();
		}
        else
        {
   	      uart_buf_len = sprintf(uart_buf, "Unknown command.\r\n");
   	      HAL_UART_Transmit(&huart2, (uint8_t *)uart_buf, uart_buf_len, 100);
        }
		ubSlaveReceiveIndex++;
	  } break;
    }
  }

//  /*##-2- Put I2C peripheral in Listen address match code process ##########*/
//	/* This action will allow I2C periphal to able to treat Master request when
//	   necessary depending of transfer direction requested by Master */
//	if(HAL_I2C_EnableListen_IT(&hi2c1) != HAL_OK)
//	{
//	  /* Transfer error in reception process */
//	  //Error_Handler();
// 	  uart_buf_len = sprintf(uart_buf, "HAL_I2C_EnableListen_IT(&hi2c1) error (initiated after callback).\r\n");
// 	  HAL_UART_Transmit(&huart2, (uint8_t *)uart_buf, uart_buf_len, 100);
//	}

}

/**
  * @brief  Tx Transfer completed callback.
  * @param  I2cHandle: I2C handle
  * @note   This example shows a simple way to report end of IT Tx transfer, and
  *         you can add your own implementation.
  * @retval None
  */
void HAL_I2C_SlaveTxCpltCallback(I2C_HandleTypeDef *I2cHandle)
{
  ubSlaveReceiveIndex = 0; // reset buffer
}

/**
  * @brief  Listen Complete callback.
  * @param  hi2c Pointer to a I2C_HandleTypeDef structure that contains
  *                the configuration information for the specified I2C.
  * @retval None
  */
void HAL_I2C_ListenCpltCallback(I2C_HandleTypeDef *hi2c)
{
  ubSlaveReceiveIndex = 0; // reset buffer
}

/*!
 * @brief           Write operation in either I2C or SPI
 *
 * param[in]        dev_addr        I2C or SPI device address
 * param[in]        reg_addr        register address
 * param[in]        reg_data_ptr    pointer to the data to be written
 * param[in]        data_len        number of bytes to be written
 *
 * @return          result of the bus communication function
 */
int8_t bus_write(uint8_t dev_addr, uint8_t reg_addr, uint8_t *reg_data_ptr, uint16_t data_len)
{
    int8_t rslt = 0; /* Return 0 for Success, non-zero for failure */
    HAL_StatusTypeDef HAL_Status;
    HAL_GPIO_WritePin(SPI1_CS_GPIO_Port, SPI1_CS_Pin, GPIO_PIN_RESET);
	HAL_Status = HAL_SPI_Transmit(&hspi1, (uint8_t *)&reg_addr, 1, 100);
	if (HAL_Status != HAL_OK)
	{
		rslt = 1;
	}
	HAL_Status = HAL_SPI_Transmit(&hspi1, (uint8_t *)reg_data_ptr,data_len,100);
	if (HAL_Status != HAL_OK)
	{
		rslt = 1;
	}
	HAL_GPIO_WritePin(SPI1_CS_GPIO_Port, SPI1_CS_Pin, GPIO_PIN_SET);
    return rslt;
}

/*!
 * @brief           Read operation in either I2C or SPI
 *
 * param[in]        dev_addr        I2C or SPI device address
 * param[in]        reg_addr        register address
 * param[out]       reg_data_ptr    pointer to the memory to be used to store the read data
 * param[in]        data_len        number of bytes to be read
 *
 * @return          result of the bus communication function
 */
int8_t bus_read(uint8_t dev_addr, uint8_t reg_addr, uint8_t *reg_data_ptr, uint16_t data_len)
{
	int8_t rslt = 0; /* Return 0 for Success, non-zero for failure */
    HAL_StatusTypeDef HAL_Status;
    HAL_GPIO_WritePin(SPI1_CS_GPIO_Port, SPI1_CS_Pin, GPIO_PIN_RESET);
	HAL_Status = HAL_SPI_Transmit(&hspi1, (uint8_t *)&reg_addr, 1, 100);
	if (HAL_Status != HAL_OK)
	{
		rslt = 1;
	}
	HAL_Status = HAL_SPI_Receive(&hspi1, (uint8_t *)reg_data_ptr, data_len, 100);
	if (HAL_Status != HAL_OK)
	{
		rslt = 1;
	}
	HAL_GPIO_WritePin(SPI1_CS_GPIO_Port, SPI1_CS_Pin, GPIO_PIN_SET);
    return rslt;
}

/*!
 * @brief           System specific implementation of sleep function
 *
 * @param[in]       t_ms    time in milliseconds
 *
 * @return          none
 */
void sleep(uint32_t t_ms)
{
    while(t_ms > 0)
    {
    	HAL_Delay(1);
    	t_ms--;
    }
}

/*!
 * @brief           Capture the system time in microseconds
 *
 * @return          system_current_time    current system timestamp in microseconds
 */
uint64_t get_timestamp_us()
{
	static uint64_t microseconds_since_start = 0;
    microseconds_since_start += (uint64_t)(uwTick * 1000 - (uint32_t)(microseconds_since_start));
    return microseconds_since_start;
}

/*!
 * @brief           Handling of the ready outputs
 *
 * @param[in]       timestamp       time in nanoseconds
 * @param[in]       iaq             IAQ signal
 * @param[in]       iaq_accuracy    accuracy of IAQ signal
 * @param[in]       temperature     temperature signal
 * @param[in]       humidity        humidity signal
 * @param[in]       pressure        pressure signal
 * @param[in]       raw_temperature raw temperature signal
 * @param[in]       raw_humidity    raw humidity signal
 * @param[in]       gas             raw gas sensor signal
 * @param[in]       bsec_status     value returned by the bsec_do_steps() call
 *
 * @return          none
 */
void output_ready(int64_t timestamp, float iaq, uint8_t iaq_accuracy, float temperature, float humidity,
     float pressure, float raw_temperature, float raw_humidity, float gas, bsec_library_return_t bsec_status,
     float static_iaq, float co2_equivalent, float breath_voc_equivalent)
{
  char uart_buf[200];
  int uart_buf_len;

//  cycletimeBSEC = (get_timestamp_us()-currentTime)/1000;
//  uart_buf_len = sprintf(uart_buf, "Duration BSEC cycle before conversion and print =  %dms\r\n",(int)cycletimeBSEC);
//  HAL_UART_Transmit(&huart2, (uint8_t *)uart_buf, uart_buf_len, 100);

  // convert readings to 16-bit value
  temp16 = (uint16_t)((temperature*100)+5000);
  pres16 = (uint16_t)((pressure+0.05f)/100);
  iaq16 = ((uint16_t)(iaq)) & (0x0000FFFF);
  humi16 = (uint16_t)((humidity+0.05f)*100);
  iaqacc = iaq_accuracy;
  // copy readings to byte buffer
  if (__HAL_I2C_GET_FLAG(&hi2c1,I2C_FLAG_BUSY))
  {
	uart_buf_len = sprintf(uart_buf, "HAL_I2C_BUSY! No update of measurement data at this moment!\r\n");
	HAL_UART_Transmit(&huart2, (uint8_t *)uart_buf, uart_buf_len, 100);
  }
  else
  {
	measurementData[METRIC_TEMPERATURE*2] = (temp16 >> 8);
	measurementData[1+METRIC_TEMPERATURE*2] = (temp16 & 0xFF);
	measurementData[METRIC_PRESSURE*2] = (pres16 >> 8);
	measurementData[1+METRIC_PRESSURE*2] = (pres16 & 0xFF);
	measurementData[METRIC_IAQ*2] = (iaq16 >> 8);
	measurementData[1+METRIC_IAQ*2] = (iaq16 & 0xFF);
	measurementData[METRIC_HUMIDITY*2] = (humi16 >> 8);
	measurementData[1+METRIC_HUMIDITY*2] = (humi16 & 0xFF);
  }

//  cycletimeBSEC = (get_timestamp_us()-currentTime)/1000;
//  uart_buf_len = sprintf(uart_buf, "Duration BSEC cycle before LED =  %dms\r\n",(int)cycletimeBSEC);
//  HAL_UART_Transmit(&huart2, (uint8_t *)uart_buf, uart_buf_len, 100);

  processLed = iaq_accuracy;

//  switch (iaq_accuracy)
//  {
//    case 0: // start_up status
//	{
//	  HAL_Delay(50);
//	  HAL_GPIO_WritePin(INT_GPIO_Port, LED_Pin, GPIO_PIN_RESET);
//	  HAL_Delay(50);
//	  HAL_GPIO_WritePin(INT_GPIO_Port, LED_Pin, GPIO_PIN_SET);
//	  HAL_Delay(50);
//	  HAL_GPIO_WritePin(INT_GPIO_Port, LED_Pin, GPIO_PIN_RESET);
//	  HAL_Delay(50);
//	  HAL_GPIO_WritePin(INT_GPIO_Port, LED_Pin, GPIO_PIN_SET);
//	  HAL_Delay(50);
//	  HAL_GPIO_WritePin(INT_GPIO_Port, LED_Pin, GPIO_PIN_RESET);
//	  HAL_Delay(50);
//	  HAL_GPIO_WritePin(INT_GPIO_Port, LED_Pin, GPIO_PIN_SET);
//	} break;
//	case 1: // start_up status
//	{
//	  HAL_Delay(50);
//	  HAL_GPIO_WritePin(INT_GPIO_Port, LED_Pin, GPIO_PIN_RESET);
//	  HAL_Delay(50);
//	  HAL_GPIO_WritePin(INT_GPIO_Port, LED_Pin, GPIO_PIN_SET);
//	  HAL_Delay(50);
//	  HAL_GPIO_WritePin(INT_GPIO_Port, LED_Pin, GPIO_PIN_RESET);
//	  HAL_Delay(50);
//	  HAL_GPIO_WritePin(INT_GPIO_Port, LED_Pin, GPIO_PIN_SET);
//    } break;
//	case 2: // Calibrating
//	{
//	  HAL_Delay(50);
//	  HAL_GPIO_WritePin(INT_GPIO_Port, LED_Pin, GPIO_PIN_RESET);
//	  HAL_Delay(50);
//	  HAL_GPIO_WritePin(INT_GPIO_Port, LED_Pin, GPIO_PIN_SET);
//	  HAL_Delay(50);
//	  HAL_GPIO_WritePin(INT_GPIO_Port, LED_Pin, GPIO_PIN_RESET);
//	  HAL_Delay(50);
//	  HAL_GPIO_WritePin(INT_GPIO_Port, LED_Pin, GPIO_PIN_SET);
//	} break;
//	case 3: // Calibrated!
//	{
//	  HAL_Delay(50);
//	  HAL_GPIO_WritePin(INT_GPIO_Port, LED_Pin, GPIO_PIN_RESET);
//	  HAL_Delay(50);
//	  HAL_GPIO_WritePin(INT_GPIO_Port, LED_Pin, GPIO_PIN_SET);
//	} break;
//  }

  uart_buf_len = sprintf(uart_buf, "SPC = %d, Temp = %5.2f °C, - 0x%2X, Press = %6.2f mbar, - 0x%2X, IAQ = %5.2f - 0x%2X, Hum = %5.2f %%, - 0x%2X, INT = %X, mDataReq = %X, IAQ_acc = %d\r\n",(int)currentTime/1000,temperature,temp16,pressure/100,pres16,iaq,iaq16,humidity,humi16,generateIntReq,mDataReq,iaq_accuracy);
  HAL_UART_Transmit(&huart2, (uint8_t *)uart_buf, uart_buf_len, 100);
  /* Master requests measurement */
}

/*!
 * @brief           Load previous library state from non-volatile memory
 *
 * @param[in,out]   state_buffer    buffer to hold the loaded state string
 * @param[in]       n_buffer        size of the allocated state buffer
 *
 * @return          number of bytes copied to state_buffer
 */
uint32_t state_load(uint8_t *state_buffer, uint32_t n_buffer)
{
  // ...
  // Load a previous library state from non-volatile memory, if available.
  //
  // Return zero if loading was unsuccessful or no state was available,
  // otherwise return length of loaded state string.
  // ...
  char uart_buf[200];
  int uart_buf_len;
  Address = DATA_EEPROM_BASE;
  /* Check if the programmed data is OK
      memoryProgramStatus = 0: no bsec state data available
      memoryProgramStatus != 0: bsec state data available ******/
  int32_t i = 0;
  int8_t memoryProgramStatus = 0;
  while (i < n_buffer)
  {
    if (*(__IO uint8_t *)(Address) != 0)
    {
	  memoryProgramStatus++;
    }
    Address++;
    i++;
  }
  /*Check if there is an issue to load the data*/
  if (memoryProgramStatus != 0)
  {
	Address = DATA_EEPROM_BASE;
	i = 0;
	while (i < n_buffer)
	{
	  state_buffer[i] = *(__IO uint8_t *)(Address);
	  Address++;
	  i++;
	}
	uart_buf_len = sprintf(uart_buf, "Bsec state DATA available and loaded. n_buffer length = %d.\r\n",(int)n_buffer);
	HAL_UART_Transmit(&huart2, (uint8_t *)uart_buf, uart_buf_len, 100);
	return n_buffer;
  }
  else
  {
	uart_buf_len = sprintf(uart_buf, "No bsec state DATA available.\r\n");
	HAL_UART_Transmit(&huart2, (uint8_t *)uart_buf, uart_buf_len, 100);
	return 0;
  }
  return 0;
}

///*!
// * @brief           Save library state to non-volatile memory
// *
// * @param[in]       state_buffer    buffer holding the state to be stored
// * @param[in]       length          length of the state string to be stored
// *
// * @return          none
// */
//void state_save_partial(const uint8_t *state_buffer, uint32_t length, uint8_t saveBsecState)
//{
//  char uart_buf[150];
//  int uart_buf_len;
//  /* Unlock the DATA EEPROM Flash to enable the flash control register access *************/
//  HAL_FLASHEx_DATAEEPROM_Unlock();
//  /* Erase the DATA EEPROM Flash area word by word (area defined by length) ***********/
//  int32_t i = length;
//  int32_t Address = DATA_EEPROM_BASE + 12*(saveBsecState-1);
//  int8_t erase_OK = 1;
//  int8_t program_OK = 1;
//  int8_t memoryProgramStatus = 0;
//  while (i > 0)
//  {
//    if (HAL_FLASHEx_DATAEEPROM_Erase(Address) == HAL_OK)
//    {
////      *(__IO uint32_t *) Address = 0x00000000U;
//      Address = Address + 4;
//      i = i-4;
//    }
//    else
//    {
//      /* Error occurred while erasing DATA EEPROM Flash memory. */
//      uart_buf_len = sprintf(uart_buf, "DATA EEPROM Erase error!\r\n");
//      HAL_UART_Transmit(&huart2, (uint8_t *)uart_buf, uart_buf_len, 100);
//      erase_OK = 0;
//    }
//  }
//  /* Program the DATA EEPROM Flash area byte by byte (area defined by length) ***********/
//  if (erase_OK)
//  {
//	Address = DATA_EEPROM_BASE + 10*(saveBsecState-1);
//	i = 0;
//	while (i < length)
//	{
//	  if (HAL_FLASHEx_DATAEEPROM_Program(FLASH_TYPEPROGRAMDATA_BYTE, Address, state_buffer[10*(saveBsecState-1) + i]) == HAL_OK)
//	  {
////		*(__IO uint8_t *)Address = (uint8_t) state_buffer[i];
//		Address++;
//	    i++;
//	  }
//	  else
//	  {
//	    /* Error occurred while writing DATA EEPROM Flash memory. */
//	    uart_buf_len = sprintf(uart_buf, "DATA EEPROM Write error!\r\n");
//	    HAL_UART_Transmit(&huart2, (uint8_t *)uart_buf, uart_buf_len, 100);
//	    program_OK = 0;
//	  }
//	}
//  }
//  /* Lock the DATA EEPROM Flash to disable the flash control register access (recommended
//     to protect the FLASH memory against possible unwanted operation) *********/
//  HAL_FLASHEx_DATAEEPROM_Lock();
//  /* Check if the programmed data is OK
//      memoryProgramStatus = 0: data programmed correctly
//      memoryProgramStatus != 0: number of words not programmed correctly ******/
//  if (program_OK)
//  {
//	Address = DATA_EEPROM_BASE + 10*(saveBsecState-1);
//	i = 0;
//	while (i < length)
//	{
//	  if (state_buffer[10*(saveBsecState-1)+i] != *(__IO uint8_t *)(Address))
//	  {
//		memoryProgramStatus++;
//	  }
//	  Address++;
//	  i++;
//	}
//  }
//  /*Check if verification is OK*/
//  if (memoryProgramStatus != 0)
//  {
//	uart_buf_len = sprintf(uart_buf, "DATA EEPROM Verification error!\r\n");
//	HAL_UART_Transmit(&huart2, (uint8_t *)uart_buf, uart_buf_len, 100);
//  }
//  else
//  {
////	uart_buf_len = sprintf(uart_buf, "Library state (%d bytes) correctly saved to DATA EEPROM.\r\n",length);
////    HAL_UART_Transmit(&huart2, (uint8_t *)uart_buf, uart_buf_len, 100);
//  }
//}

/*!
 * @brief           Save library state to non-volatile memory
 *
 * @param[in]       state_buffer    buffer holding the state to be stored
 * @param[in]       length          length of the state string to be stored
 *
 * @return          none
 */
void state_save(const uint8_t *state_buffer, uint32_t length)
{
  char uart_buf[200];
  int uart_buf_len;
  /* Unlock the DATA EEPROM Flash to enable the flash control register access *************/
  HAL_FLASHEx_DATAEEPROM_Unlock();
  /* Erase the DATA EEPROM Flash area word by word (area defined by length) ***********/
  Address = DATA_EEPROM_BASE;
  int32_t i = length;
//  int32_t i = 12;
  int8_t erase_OK = 1;
  int8_t program_OK = 1;
  int8_t memoryProgramStatus = 0;
  while (i > -4)
  {
    if (HAL_FLASHEx_DATAEEPROM_Erase(Address) == HAL_OK)
    {
      *(__IO uint32_t *) Address = 0x00000000U;
      Address = Address + 4;
      i = i-4;
    }
    else
    {
      /* Error occurred while erasing DATA EEPROM Flash memory. */
      uart_buf_len = sprintf(uart_buf, "DATA EEPROM Erase error!\r\n");
      HAL_UART_Transmit(&huart2, (uint8_t *)uart_buf, uart_buf_len, 100);
      erase_OK = 0;
    }
  }
  /* Program the DATA EEPROM Flash area byte by byte (area defined by length) ***********/
  if (erase_OK)
  {
	Address = DATA_EEPROM_BASE;
	i = 0;
	while (i < length)
//	while (i < 10)
	{
	  if (HAL_FLASHEx_DATAEEPROM_Program(FLASH_TYPEPROGRAMDATA_BYTE, Address, state_buffer[i]) == HAL_OK)
	  {
		*(__IO uint8_t *)Address = (uint8_t) state_buffer[i];
		Address++;
	    i++;
	  }
	  else
	  {
	    /* Error occurred while writing DATA EEPROM Flash memory. */
	    uart_buf_len = sprintf(uart_buf, "DATA EEPROM Write error!\r\n");
	    HAL_UART_Transmit(&huart2, (uint8_t *)uart_buf, uart_buf_len, 100);
	    program_OK = 0;
	  }
	}
  }
  /* Lock the DATA EEPROM Flash to disable the flash control register access (recommended
     to protect the FLASH memory against possible unwanted operation) *********/
  HAL_FLASHEx_DATAEEPROM_Lock();
  /* Check if the programmed data is OK
      memoryProgramStatus = 0: data programmed correctly
      memoryProgramStatus != 0: number of words not programmed correctly ******/
  if (program_OK)
  {
	Address = DATA_EEPROM_BASE;
	i = 0;
	while (i < length)
	{
	  if (state_buffer[i] != *(__IO uint8_t *)(Address))
	  {
		memoryProgramStatus++;
	  }
	  Address++;
	  i++;
	}
  }
  /*Check if verification is OK*/
  if (memoryProgramStatus != 0)
  {
	uart_buf_len = sprintf(uart_buf, "DATA EEPROM Verification error!\r\n");
	HAL_UART_Transmit(&huart2, (uint8_t *)uart_buf, uart_buf_len, 100);
  }
  else
  {
	uart_buf_len = sprintf(uart_buf, "Library state (%d bytes) correctly saved to DATA EEPROM.\r\n",(int)length);
    HAL_UART_Transmit(&huart2, (uint8_t *)uart_buf, uart_buf_len, 100);
  }
}

/*!
 * @brief           Load library config from non-volatile memory
 *
 * @param[in,out]   config_buffer    buffer to hold the loaded state string
 * @param[in]       n_buffer        size of the allocated state buffer
 *
 * @return          number of bytes copied to config_buffer
 */
uint32_t config_load(uint8_t *config_buffer, uint32_t n_buffer)
{
    //
    // Load generic_33v_3s_4d library config from non-volatile memory, if available.
    //
	memcpy(config_buffer,bsec_config_iaq, sizeof(bsec_config_iaq));
    // Return zero if loading was unsuccessful or no config was available,
    // otherwise return length of loaded config string.
    // ...
    return sizeof(bsec_config_iaq);
}

/*!
 * @brief       Main function which configures BSEC library and then reads and processes the data from sensor based
 *              on timer ticks
 *
 * @return      result of the processing
 */
int setup_bsec_bme680_interface()
{
    return_values_init ret;
	bsec_version_t  version;
	char uart_buf[200];
	int uart_buf_len;

    /* Call to the function which initializes the BSEC library
     * Switch on low-power mode and provide no temperature offset */
    ret = bsec_iot_init(BSEC_SAMPLE_RATE_ULP, 0.5f, bus_write, bus_read, sleep, state_load, config_load);
    if (ret.bme680_status)
    {
        /* Could not intialize BME680 */
    	uart_buf_len = sprintf(uart_buf, "Error while initializing BME680. bme680_status = %d\r\n",ret.bme680_status);
    	HAL_UART_Transmit(&huart2, (uint8_t *)uart_buf, uart_buf_len, 100);
        return (int)ret.bme680_status;
    }
    else
    {
        /* BME680 initialized */
    	uart_buf_len = sprintf(uart_buf, "BME680 initialized.\r\n");
    	HAL_UART_Transmit(&huart2, (uint8_t *)uart_buf, uart_buf_len, 100);
    	if (ret.bsec_status)
    	{
    		/* Could not intialize BSEC library */
    		uart_buf_len = sprintf(uart_buf, "Error while initializing BSEC library. bsec_status = %d\r\n",ret.bsec_status);
    		HAL_UART_Transmit(&huart2, (uint8_t *)uart_buf, uart_buf_len, 100);
    		return (int)ret.bsec_status;
    	}
    	else
    	{
    		/* BSEC library initialized */
        	uart_buf_len = sprintf(uart_buf, "BSEC initialized.\r\n");
        	HAL_UART_Transmit(&huart2, (uint8_t *)uart_buf, uart_buf_len, 100);
    		bsec_get_version(&version);
    		uart_buf_len = sprintf(uart_buf, "BSEC version: %d.%d.%d.%d\n",version.major, version.minor, version.major_bugfix, version.minor_bugfix);
    		HAL_UART_Transmit(&huart2, (uint8_t *)uart_buf, uart_buf_len, 100);
    	}
    }

//    /* Call to endless loop function which reads and processes data based on sensor settings */
//    /* State is saved every 10.000 samples, which means every 10.000 * 3 secs = 500 minutes  */
//    bsec_iot_loop(sleep, get_timestamp_us, output_ready, state_save, 10000);

    return 0;
}

/* USER CODE END 4 */

void Error_Handler(void)
{
  /* USER CODE BEGIN Error_Handler_Debug */
  /* User can add his own implementation to report the HAL error return state */
	//	char uart_buf[100];
	//	int uart_buf_len;
	//	uart_buf_len = sprintf(uart_buf, "Error handler.\r\n");
	//	HAL_UART_Transmit(&huart2, (uint8_t *)uart_buf, uart_buf_len, 100);
  /* USER CODE END Error_Handler_Debug */
}

/************************ (C) COPYRIGHT STMicroelectronics *****END OF FILE****/
